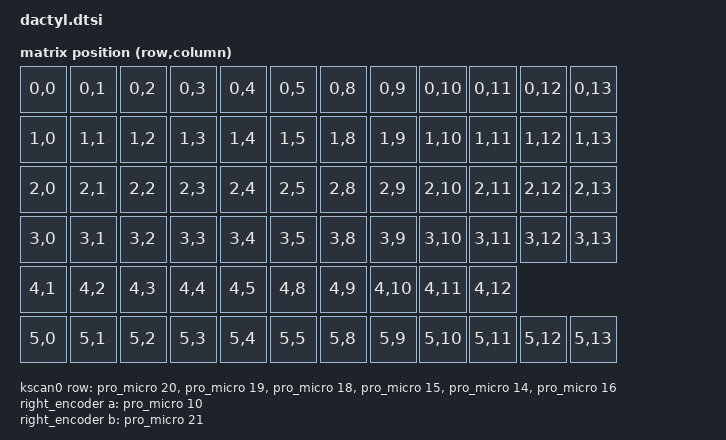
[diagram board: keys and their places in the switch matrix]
#include <dt-bindings/zmk/matrix_transform.h>

/ {
    chosen {
        zmk,kscan = &kscan_composite;
        zmk,matrix_transform = &default_transform;
        zmk,split = &split;
    };

    default_transform: keymap_transform_0 {
        compatible = "zmk,matrix-transform";
        columns = <14>;
        rows = <6>;
//
// Row 0: 6L + gap + 6R = 14    Row 3: 6L + gap + 6R = 14
// Row 1: 6L + gap + 6R = 14    Row 4: 5L + gap + 5R = 12
// Row 2: 6L + gap + 6R = 14    Row 5: 6L + gap + 6R = 14
// Total: 70 keys

        map = <
// Row 0: L(c0-c5) gap(c6-c7) R(c8-c13) = 14
RC(0,0) RC(0,1) RC(0,2) RC(0,3) RC(0,4) RC(0,5)   RC(0,8) RC(0,9) RC(0,10) RC(0,11) RC(0,12) RC(0,13)
// Row 1: L(c0-c5) gap(c6-c7) R(c8-c13) = 14
RC(1,0) RC(1,1) RC(1,2) RC(1,3) RC(1,4) RC(1,5)   RC(1,8) RC(1,9) RC(1,10) RC(1,11) RC(1,12) RC(1,13)
// Row 2: L(c0-c5) gap(c6-c7) R(c8-c13) = 14
RC(2,0) RC(2,1) RC(2,2) RC(2,3) RC(2,4) RC(2,5)   RC(2,8) RC(2,9) RC(2,10) RC(2,11) RC(2,12) RC(2,13)
// Row 3: L(c0-c5) gap(c6-c7) R(c8-c13) = 14
RC(3,0) RC(3,1) RC(3,2) RC(3,3) RC(3,4) RC(3,5)   RC(3,8) RC(3,9) RC(3,10) RC(3,11) RC(3,12) RC(3,13)
// Row 4: L(c1-c5) gap(c6-c7) R(c8-c12) = 12
RC(4,1) RC(4,2) RC(4,3) RC(4,4) RC(4,5)   RC(4,8) RC(4,9) RC(4,10) RC(4,11) RC(4,12)
// Row 5: L(c0-c5) gap(c6-c7) R(c8-c13) = 14
RC(5,0) RC(5,1) RC(5,2) RC(5,3) RC(5,4) RC(5,5)   RC(5,8) RC(5,9) RC(5,10) RC(5,11) RC(5,12) RC(5,13)
        >;
    };

    kscan0: kscan {
        compatible = "zmk,kscan-gpio-matrix";

        diode-direction = "col2row";
        row-gpios
            = <&pro_micro 20 (GPIO_ACTIVE_HIGH | GPIO_PULL_DOWN)>
            , <&pro_micro 19 (GPIO_ACTIVE_HIGH | GPIO_PULL_DOWN)>
            , <&pro_micro 18 (GPIO_ACTIVE_HIGH | GPIO_PULL_DOWN)>
            , <&pro_micro 15 (GPIO_ACTIVE_HIGH | GPIO_PULL_DOWN)>
            , <&pro_micro 14 (GPIO_ACTIVE_HIGH | GPIO_PULL_DOWN)>
            , <&pro_micro 16 (GPIO_ACTIVE_HIGH | GPIO_PULL_DOWN)>
            ;
    };

    // Composite kscan: matrix keys + EC11 push button (added per-side in overlays)
    kscan_composite: kscan_composite {
        compatible = "zmk,kscan-composite";
        rows = <6>;
        columns = <14>;

        matrix {
            kscan = <&kscan0>;
        };

        // EC11 push button child is added in dactyl_right.overlay
    };

    right_encoder: encoder_right {
        compatible = "alps,ec11";
        a-gpios = <&pro_micro 10 (GPIO_ACTIVE_HIGH | GPIO_PULL_UP)>;
        b-gpios = <&pro_micro 21 (GPIO_ACTIVE_HIGH | GPIO_PULL_UP)>;
        steps = <80>;
        status = "disabled";
    };

    sensors: sensors {
        compatible = "zmk,keymap-sensors";
        sensors = <&right_encoder>;
        triggers-per-rotation = <20>;
    };

    split: split {
        compatible = "zmk,split-peripheral-left";
        status = "disabled";
    };
};
